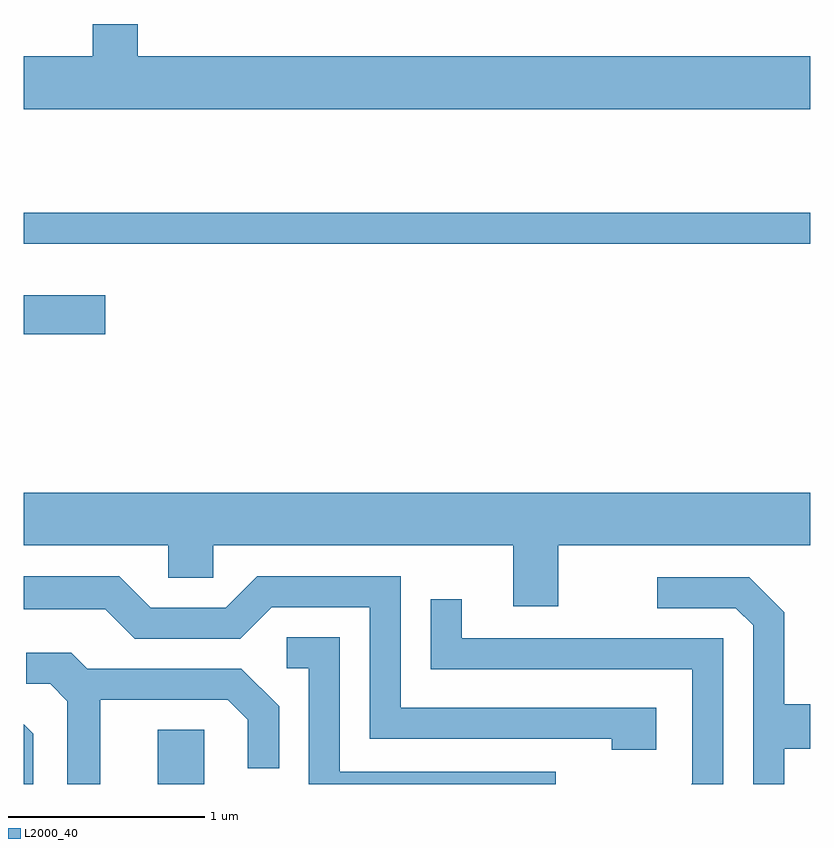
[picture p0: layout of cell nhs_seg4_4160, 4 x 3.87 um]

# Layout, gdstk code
import gdstk
lib = gdstk.Library(unit=1e-6, precision=1e-09)
def R(c, l, rs):  # rectangles x0, y0, x1, y1
    for r in rs: c.add(gdstk.rectangle(r[:2], r[2:], *l))
def P(c, l, *ps):  # polygons
    for p in ps: c.add(gdstk.Polygon(p, *l))
L2000_40 = (2000, 40)

nhs_seg4_4160 = lib.new_cell('nhs_seg4_4160')
R(nhs_seg4_4160, L2000_40, [(308.291,1277.982,308.529,1278.259), (307.611,1280.271,308.024,1280.469), (307.611,1280.731,311.611,1280.889)])
P(nhs_seg4_4160, L2000_40, [(311.611,1281.684),(308.189,1281.684),(308.189,1281.849),(307.961,1281.849),(307.961,1281.684),(307.611,1281.684),(307.611,1281.416),(311.611,1281.416)],
  [(310.329,1279.196),(311.611,1279.196),(311.611,1279.464),(307.611,1279.464),(307.611,1279.196),(308.346,1279.196),(308.346,1279.031),(308.574,1279.031),(308.574,1279.196),(310.101,1279.196),(310.101,1278.886),(310.329,1278.886)],
  [(310.829,1278.369),(309.529,1278.369),(309.529,1279.039),(308.799,1279.039),(308.639,1278.879),(308.257,1278.879),(308.097,1279.039),(307.611,1279.039),(307.611,1278.871),(308.024,1278.871),(308.174,1278.721),(308.712,1278.721),(308.872,1278.881),(309.371,1278.881),(309.371,1278.211),(310.601,1278.211),(310.601,1278.156),(310.829,1278.156)],
  [(311.479,1278.161),(311.611,1278.161),(311.611,1278.389),(311.479,1278.389),(311.479,1278.857),(311.302,1279.034),(310.833,1279.034),(310.833,1278.876),(311.234,1278.876),(311.321,1278.789),(311.321,1277.982),(311.479,1277.982)],
  [(311.169,1278.724),(309.839,1278.724),(309.839,1278.923),(309.681,1278.923),(309.681,1278.566),(311.011,1278.566),(311.011,1277.987),(311.006,1277.982),(311.169,1277.982)],
  [(310.318,1278.044),(309.219,1278.044),(309.219,1278.729),(308.948,1278.729),(308.948,1278.571),(309.061,1278.571),(309.061,1277.982),(310.318,1277.982)],
  [(307.999,1278.411),(308.649,1278.411),(308.751,1278.309),(308.751,1278.063),(308.909,1278.063),(308.909,1278.377),(308.717,1278.569),(307.932,1278.569),(307.852,1278.649),(307.623,1278.649),(307.623,1278.491),(307.744,1278.491),(307.831,1278.404),(307.831,1277.982),(307.999,1277.982)],
  [(307.659,1278.237),(307.611,1278.285),(307.611,1277.982),(307.659,1277.982)])

lib.write_gds('nhs_seg4_4160.gds')
